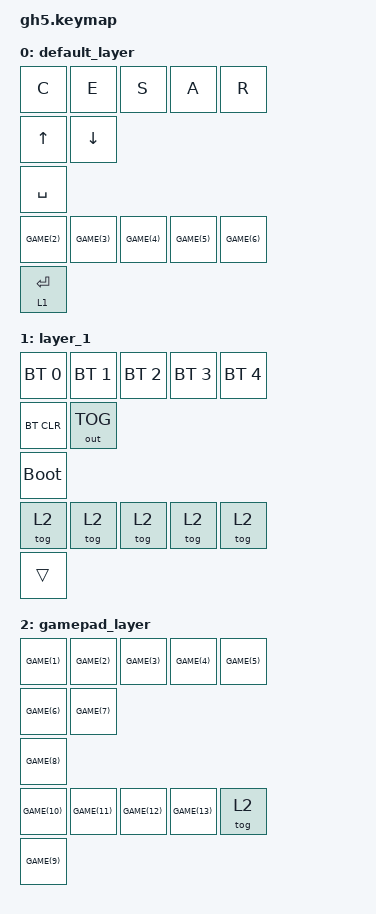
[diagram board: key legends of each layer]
/*
 * Copyright (c) 2020 The ZMK Contributors
 *
 * SPDX-License-Identifier: MIT
 */

#include <behaviors.dtsi>
#include <dt-bindings/zmk/bt.h>
#include <dt-bindings/zmk/keys.h>
#include <dt-bindings/zmk/outputs.h>


&mt {
  //  flavor = "tap-preferred";
   // tapping_term_ms = <200>;
};

&lt {
    flavor = "balanced";
};

/ { 

	behaviors {
		td0: tap_dance_0 {
		    compatible = "zmk,behavior-tap-dance";
		    label = "TAP_DANCE_0";
		    #binding-cells = <0>;
		    tapping-term-ms = <200>;
		    bindings = <&kp Q>, <&sl 1>;
		};
	    };

        keymap {
                compatible = "zmk,keymap";

       		default_layer {
		bindings = <
		// frets
		&kp C &kp E &kp S &kp A &kp R
		// strum
		&kp UP &kp DOWN
		// select
		&kp SPC
		// wasd and ps
		&kp GAME(2) &kp GAME(3) &kp GAME(4) &kp GAME(5) &kp GAME(6) 
		// start
		&lt 1 RET
		>;
		};
                
       		layer_1 {
		bindings = <
		// frets
		&bt BT_SEL 0 &bt BT_SEL 1 &bt BT_SEL 2 &bt BT_SEL 3 &bt BT_SEL 4
		// strum up & down
		&bt BT_CLR &out OUT_TOG
		// select
		&bootloader
		// wasd + ps
		&tog 2 &tog 2 &tog 2 &tog 2 &tog 2 
		// start
		&trans
		>;
		};

       		gamepad_layer {
		bindings = <
		// frets
		&kp GAME(1) &kp GAME(2) &kp GAME(3) &kp GAME(4) &kp GAME(5)
		// strum
		&kp GAME(6) &kp GAME(7)
		// select
		&kp GAME(8)
		// wasd and ps
		&kp GAME(10) &kp GAME(11) &kp GAME(12) &kp GAME(13) &tog 2 
		// start
		&kp GAME(9)
		>;
		};
        
	};
};
